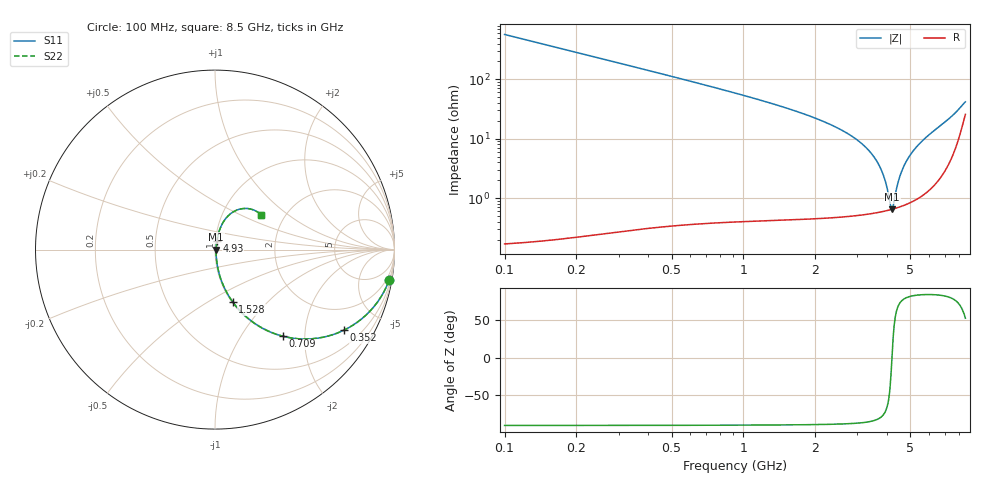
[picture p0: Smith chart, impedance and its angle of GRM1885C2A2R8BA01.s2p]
!Murata Part Number: GRM1885C2A2R8BA01
!These Parameters are Measured in Series Mode Connection
!Data Generated on Mar 30, 2021
!  o--ll--o
!Port1  Port2
!  o------o
!Operation Temp=25[degC], DC Bias Voltage=0[V]
!Freq. Start=100[MHz] Stop=9[GHz] 401[Steps]
# Hz S RI R 50
!Freq.(Hz) S11(Real) S11(Imag) S21(Real) S21(Imag) S12(Real) S12(Imag) S22(Real) S22(Imag)
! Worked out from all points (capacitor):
!   401 points, 100 MHz to 8.5 GHz, reference 50 ohm
!   read as one part in series: C = 2.8 pF near 142 MHz
!   lowest |Z| = 650 mohm at 4.195 GHz (marker M1)
!   series resonance near 4.188 GHz, so ESL is about 520 pH
!   S11 on the Smith chart (normalised r, x): 100 MHz: 1, -11; 352 MHz: 1.01, -3.21; 709 MHz: 1.01, -1.56; 1.528 GHz: 1.01, -0.65; 4.93 GHz: 1.02, +0.10; 8.5 GHz: 1.51, +0.66
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1e8  0.9699 -0.1707  0.0301 0.1707  0.0301 0.1707  0.9699 -0.1707
2.26e8  0.8625 -0.3439  0.1375 0.3439  0.1375 0.3439  0.8625 -0.3439
3.52e8  0.7194 -0.4484  0.2806 0.4484  0.2806 0.4484  0.7194 -0.4484
4.99e8  0.5573 -0.4952  0.4427 0.4952  0.4427 0.4952  0.5573 -0.4952
7.09e8  0.3781 -0.4825  0.6219 0.4825  0.6219 0.4825  0.3781 -0.4825
1.045e9  0.2088 -0.4025  0.7912 0.4025  0.7912 0.4025  0.2088 -0.4025
1.507e9  0.1012 -0.2952  0.8988 0.2952  0.8988 0.2952  0.1012 -0.2952
1.528e9  0.0982 -0.291  0.9018 0.291  0.9018 0.291  0.0982 -0.291
2.914e9  0.0153 -0.1009  0.9847 0.1009  0.9847 0.1009  0.0153 -0.1009
3.376e9  0.00902 -0.0601  0.991 0.0601  0.991 0.0601  0.00902 -0.0601
3.712e9  0.0069 -0.0338  0.9931 0.0338  0.9931 0.0338  0.0069 -0.0338
3.901e9  0.00639 -0.02  0.9936 0.02  0.9936 0.02  0.00639 -0.02
4.132e9  0.00635 -0.00379  0.9936 0.00379  0.9936 0.00379  0.00635 -0.00379
4.195e9  0.00644 0.000492  0.9936 -0.000492  0.9936 -0.000492  0.00644 0.000492
4.3e9  0.00668 0.00753  0.9933 -0.00753  0.9933 -0.00753  0.00668 0.00753
4.426e9  0.00712 0.0158  0.9929 -0.0158  0.9929 -0.0158  0.00712 0.0158
4.552e9  0.00771 0.0239  0.9923 -0.0239  0.9923 -0.0239  0.00771 0.0239
4.93e9  0.0104 0.0476  0.9896 -0.0476  0.9896 -0.0476  0.0104 0.0476
5.707e9  0.0205 0.0944  0.9795 -0.0944  0.9795 -0.0944  0.0205 0.0944
7.114e9  0.0669 0.1814  0.9331 -0.1814  0.9331 -0.1814  0.0669 0.1814
8.017e9  0.1602 0.229  0.8398 -0.229  0.8398 -0.229  0.1602 0.229
8.5e9  0.2551 0.1951  0.7449 -0.1951  0.7449 -0.1951  0.2551 0.1951
